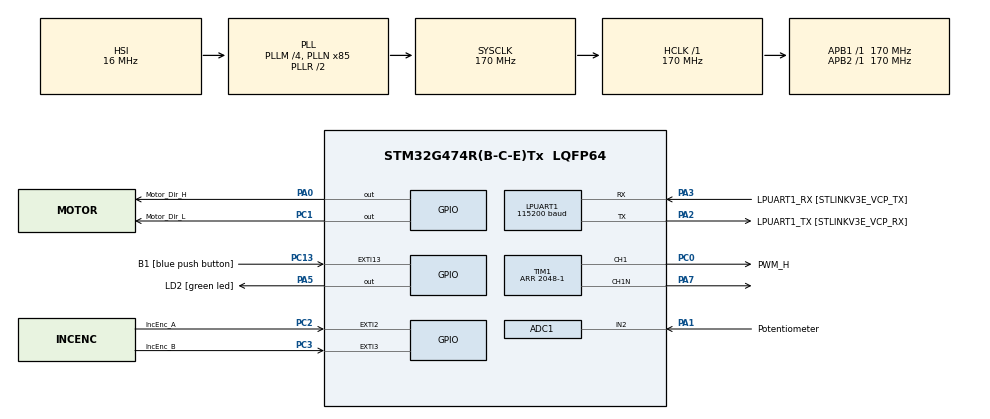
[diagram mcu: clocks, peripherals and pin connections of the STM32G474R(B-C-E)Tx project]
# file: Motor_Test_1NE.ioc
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ADC1.Channel-1\#ChannelRegularConversion=ADC_CHANNEL_2
ADC1.ContinuousConvMode=ENABLE
ADC1.NbrOfConversionFlag=1
ADC1.OffsetNumber-1\#ChannelRegularConversion=ADC_OFFSET_NONE
ADC1.Rank-1\#ChannelRegularConversion=1
ADC1.SamplingTime-1\#ChannelRegularConversion=ADC_SAMPLETIME_2CYCLES_5
ADC1.master=1
LPUART1.BaudRate=115200
LPUART1.WordLength=UART_WORDLENGTH_8B
Mcu.Family=STM32G4
Mcu.Name=STM32G474R(B-C-E)Tx
Mcu.Package=LQFP64
NVIC.ADC1_2_IRQn=true\:0\:0\:false\:false\:true\:true\:true\:true
NVIC.EXTI15_10_IRQn=true\:0\:0\:false\:false\:true\:true\:true\:true
NVIC.EXTI2_IRQn=true\:0\:0\:false\:false\:true\:true\:true\:true
NVIC.EXTI3_IRQn=true\:0\:0\:false\:false\:true\:true\:true\:true
NVIC.PriorityGroup=NVIC_PRIORITYGROUP_4
NVIC.TIM2_IRQn=true\:0\:0\:false\:false\:true\:true\:true\:true
NVIC.TIM3_IRQn=true\:0\:0\:false\:false\:true\:true\:true\:true
PA0.GPIO_Label=Motor_Dir_H
PA0.Signal=GPIO_Output
PA1.GPIO_Label=Potentiometer
PA1.Mode=IN2-Single-Ended
PA1.Signal=ADC1_IN2
PA13.GPIO_Label=T_SWDIO
PA13.Mode=Serial_Wire
PA13.Signal=SYS_JTMS-SWDIO
PA14.GPIO_Label=T_SWCLK
PA14.Mode=Serial_Wire
PA14.Signal=SYS_JTCK-SWCLK
PA2.GPIO_Label=LPUART1_TX [STLINKV3E_VCP_RX]
PA2.Mode=Asynchronous
PA2.Signal=LPUART1_TX
PA3.GPIO_Label=LPUART1_RX [STLINKV3E_VCP_TX]
PA3.Mode=Asynchronous
PA3.Signal=LPUART1_RX
PA5.GPIO_Label=LD2 [green led]
PA5.Signal=GPIO_Output
PA7.Mode=PWM Generation1 CH1 CH1N
PA7.Signal=TIM1_CH1N
PB3.GPIO_Label=T_SWO
PB3.Signal=SYS_JTDO-SWO
PC0.GPIO_Label=PWM_H
PC0.Signal=S_TIM1_CH1
PC1.GPIO_Label=Motor_Dir_L
PC1.Signal=GPIO_Output
PC13.GPIO_Label=B1 [blue push button]
PC13.Signal=GPXTI13
PC14-OSC32_IN.Mode=LSE-External-Oscillator
PC14-OSC32_IN.Signal=RCC_OSC32_IN
PC15-OSC32_OUT.Mode=LSE-External-Oscillator
PC15-OSC32_OUT.Signal=RCC_OSC32_OUT
PC2.GPIO_Label=IncEnc_A
PC2.GPIO_ModeDefaultEXTI=GPIO_MODE_IT_RISING_FALLING
PC2.Signal=GPXTI2
PC3.GPIO_Label=IncEnc_B
PC3.GPIO_ModeDefaultEXTI=GPIO_MODE_IT_RISING_FALLING
PC3.Signal=GPXTI3
PF0-OSC_IN.Mode=HSE-External-Oscillator
PF0-OSC_IN.Signal=RCC_OSC_IN
PF1-OSC_OUT.Mode=HSE-External-Oscillator
PF1-OSC_OUT.Signal=RCC_OSC_OUT
ProjectManager.HeapSize=0x200
ProjectManager.StackSize=0x400
ProjectManager.TargetToolchain=STM32CubeIDE
RCC.ADC12Freq_Value=170000000
RCC.ADC345Freq_Value=170000000
RCC.AHBFreq_Value=170000000
RCC.APB1Freq_Value=170000000
RCC.APB1TimFreq_Value=170000000
RCC.APB2Freq_Value=170000000
RCC.APB2TimFreq_Value=170000000
RCC.CortexFreq_Value=170000000
RCC.EXTERNAL_CLOCK_VALUE=12288000
RCC.HCLKFreq_Value=170000000
RCC.HSE_VALUE=24000000
RCC.HSI48_VALUE=48000000
RCC.HSI_VALUE=16000000
RCC.PLLM=RCC_PLLM_DIV4
RCC.PLLN=85
RCC.RTCClockSelection=RCC_RTCCLKSOURCE_LSE
RCC.SYSCLKFreq_VALUE=170000000
RCC.SYSCLKSource=RCC_SYSCLKSOURCE_PLLCLK
RCC.USBFreq_Value=170000000
RCC.VCOOutputFreq_Value=340000000
SH.S_TIM1_CH1.0=TIM1_CH1,PWM Generation1 CH1 CH1N
TIM1.AutoReloadPreload=TIM_AUTORELOAD_PRELOAD_ENABLE
TIM1.Channel-PWM\ Generation1\ CH1\ CH1N=TIM_CHANNEL_1
TIM1.PeriodNoDither=2048-1
TIM2.Dithering=Disable
TIM2.PeriodNoDither=1000-1
TIM2.Prescaler=170-1
TIM3.PeriodNoDither=1000-1
TIM3.Prescaler=170-1
VP_SYS_VS_DBSignals.Mode=DisableDeadBatterySignals
VP_TIM1_VS_ClockSourceINT.Mode=Internal
VP_TIM2_VS_ClockSourceINT.Mode=Internal
VP_TIM3_VS_ClockSourceINT.Mode=Internal
board=NUCLEO-G474RE

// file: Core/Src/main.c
/* USER CODE BEGIN Header */
/**
  ******************************************************************************
  * @file           : main.c
  * @brief          : Main program body
  ******************************************************************************
  * @attention
  *
  * Copyright (c) 2024 STMicroelectronics.
  * All rights reserved.
  *
  * This software is licensed under terms that can be found in the LICENSE file
  * in the root directory of this software component.
  * If no LICENSE file comes with this software, it is provided AS-IS.
  *
  ******************************************************************************
  */
/* USER CODE END Header */
#include "main.h"

/* USER CODE BEGIN Includes */
#include <string.h>
/* USER CODE END Includes */

/* USER CODE BEGIN PD */
#define M_PI		3.14159265358979323846
/* USER CODE END PD */

ADC_HandleTypeDef hadc1;

UART_HandleTypeDef hlpuart1;

TIM_HandleTypeDef htim1;
TIM_HandleTypeDef htim2;
TIM_HandleTypeDef htim3;

/* USER CODE BEGIN PV */

int InputVal = 0;
int m_duty = 0;
uint8_t flag = 1;
int adcVal = 0;

typedef enum _motorDir {
	CCW,
	CW
} motorDir;

typedef struct _motorCtrlObj {
	uint8_t motorCtrl;		// Button Update (Direction & Duty change)
	int incCnt;

	float incDeg;
	float incDeg_prev;
	float incVel;

	float reference;
	float actual;
	float Kp;
	float Ki;
	float Kd;
	float err;
	float err_diff_raw;
	float err_diff_filt;
	float err_sum;

	float control_input;

	motorDir motor_direction;

} motorCtrlObj;

motorCtrlObj motorObj;

/* USER CODE END PV */

void SystemClock_Config(void);
static void MX_GPIO_Init(void);
static void MX_LPUART1_UART_Init(void);
static void MX_ADC1_Init(void);
static void MX_TIM1_Init(void);
static void MX_TIM3_Init(void);
static void MX_TIM2_Init(void);
/* USER CODE BEGIN PFP */

void Run_PID_Control(motorCtrlObj* t_motor_obj, float t_ref, float t_actual, float t_period)
{
	float t_err = 0;

	t_motor_obj->reference = t_ref;
	t_motor_obj->actual = t_actual;

	t_err = t_ref - t_actual;

	t_motor_obj->err_sum += t_err * t_period;
	t_motor_obj->err_diff_raw = (t_err - t_motor_obj->err) / t_period;

	t_motor_obj->err_diff_filt = 0.97 * t_motor_obj->err_diff_filt + 0.03 * t_motor_obj->err_diff_raw;

	t_motor_obj->err = t_err;
	t_motor_obj->control_input = t_motor_obj->Kp * t_motor_obj->err 		\
								+ t_motor_obj->Ki * t_motor_obj->err_sum 	\
								+ t_motor_obj->Kd * t_motor_obj->err_diff_raw;
}
/* USER CODE END PFP */

int main(void)
{

  /* MCU Configuration--------------------------------------------------------*/

  /* Reset of all peripherals, Initializes the Flash interface and the Systick. */
  HAL_Init();

  /* Configure the system clock */
  SystemClock_Config();

  /* Initialize all configured peripherals */
  MX_GPIO_Init();
  MX_LPUART1_UART_Init();
  MX_ADC1_Init();
  MX_TIM1_Init();
  MX_TIM3_Init();
  MX_TIM2_Init();
  /* USER CODE BEGIN 2 */

  HAL_TIM_Base_Start_IT(&htim2);
  HAL_TIM_Base_Start_IT(&htim3);
  HAL_ADC_Start_IT(&hadc1);		// Continuous Conversion Mode

//  HAL_TIM_PWM_Start_IT(&htim1, TIM_CHANNEL_1);
//  HAL_TIMEx_PWMN_Start_IT(&htim1, TIM_CHANNEL_1);

  /* USER CODE END 2 */

  /* Infinite loop */
  /* USER CODE BEGIN WHILE */
  while (1)
  {
//	  HAL_ADC_Start(&hadc1);
//	  HAL_ADC_PollForConversion(&hadc1, 1);
//	  InputVal = HAL_ADC_GetValue(&hadc1);
//	  HAL_ADC_Stop(&hadc1);

//	  HAL_Delay(1);
    /* USER CODE END WHILE */

  }
}

void SystemClock_Config(void)
{
  RCC_OscInitTypeDef RCC_OscInitStruct = {0};
  RCC_ClkInitTypeDef RCC_ClkInitStruct = {0};

  /** Configure the main internal regulator output voltage
  */
  HAL_PWREx_ControlVoltageScaling(PWR_REGULATOR_VOLTAGE_SCALE1_BOOST);

  /** Initializes the RCC Oscillators according to the specified parameters
  * in the RCC_OscInitTypeDef structure.
  */
  RCC_OscInitStruct.OscillatorType = RCC_OSCILLATORTYPE_HSI;
  RCC_OscInitStruct.HSIState = RCC_HSI_ON;
  RCC_OscInitStruct.HSICalibrationValue = RCC_HSICALIBRATION_DEFAULT;
  RCC_OscInitStruct.PLL.PLLState = RCC_PLL_ON;
  RCC_OscInitStruct.PLL.PLLSource = RCC_PLLSOURCE_HSI;
  RCC_OscInitStruct.PLL.PLLM = RCC_PLLM_DIV4;
  RCC_OscInitStruct.PLL.PLLN = 85;
  RCC_OscInitStruct.PLL.PLLP = RCC_PLLP_DIV2;
  RCC_OscInitStruct.PLL.PLLQ = RCC_PLLQ_DIV2;
  RCC_OscInitStruct.PLL.PLLR = RCC_PLLR_DIV2;
  if (HAL_RCC_OscConfig(&RCC_OscInitStruct) != HAL_OK)
  {
    Error_Handler();
  }

  /** Initializes the CPU, AHB and APB buses clocks
  */
  RCC_ClkInitStruct.ClockType = RCC_CLOCKTYPE_HCLK|RCC_CLOCKTYPE_SYSCLK
                              |RCC_CLOCKTYPE_PCLK1|RCC_CLOCKTYPE_PCLK2;
  RCC_ClkInitStruct.SYSCLKSource = RCC_SYSCLKSOURCE_PLLCLK;
  RCC_ClkInitStruct.AHBCLKDivider = RCC_SYSCLK_DIV1;
  RCC_ClkInitStruct.APB1CLKDivider = RCC_HCLK_DIV1;
  RCC_ClkInitStruct.APB2CLKDivider = RCC_HCLK_DIV1;

  if (HAL_RCC_ClockConfig(&RCC_ClkInitStruct, FLASH_LATENCY_4) != HAL_OK)
  {
    Error_Handler();
  }
}

static void MX_ADC1_Init(void)
{

  ADC_MultiModeTypeDef multimode = {0};
  ADC_ChannelConfTypeDef sConfig = {0};

  /** Common config
  */
  hadc1.Instance = ADC1;
  hadc1.Init.ClockPrescaler = ADC_CLOCK_SYNC_PCLK_DIV4;
  hadc1.Init.Resolution = ADC_RESOLUTION_12B;
  hadc1.Init.DataAlign = ADC_DATAALIGN_RIGHT;
  hadc1.Init.GainCompensation = 0;
  hadc1.Init.ScanConvMode = ADC_SCAN_DISABLE;
  hadc1.Init.EOCSelection = ADC_EOC_SINGLE_CONV;
  hadc1.Init.LowPowerAutoWait = DISABLE;
  hadc1.Init.ContinuousConvMode = ENABLE;
  hadc1.Init.NbrOfConversion = 1;
  hadc1.Init.DiscontinuousConvMode = DISABLE;
  hadc1.Init.ExternalTrigConv = ADC_SOFTWARE_START;
  hadc1.Init.ExternalTrigConvEdge = ADC_EXTERNALTRIGCONVEDGE_NONE;
  hadc1.Init.DMAContinuousRequests = DISABLE;
  hadc1.Init.Overrun = ADC_OVR_DATA_PRESERVED;
  hadc1.Init.OversamplingMode = DISABLE;
  if (HAL_ADC_Init(&hadc1) != HAL_OK)
  {
    Error_Handler();
  }

  /** Configure the ADC multi-mode
  */
  multimode.Mode = ADC_MODE_INDEPENDENT;
  if (HAL_ADCEx_MultiModeConfigChannel(&hadc1, &multimode) != HAL_OK)
  {
    Error_Handler();
  }

  /** Configure Regular Channel
  */
  sConfig.Channel = ADC_CHANNEL_2;
  sConfig.Rank = ADC_REGULAR_RANK_1;
  sConfig.SamplingTime = ADC_SAMPLETIME_2CYCLES_5;
  sConfig.SingleDiff = ADC_SINGLE_ENDED;
  sConfig.OffsetNumber = ADC_OFFSET_NONE;
  sConfig.Offset = 0;
  if (HAL_ADC_ConfigChannel(&hadc1, &sConfig) != HAL_OK)
  {
    Error_Handler();
  }

}

static void MX_LPUART1_UART_Init(void)
{

  hlpuart1.Instance = LPUART1;
  hlpuart1.Init.BaudRate = 115200;
  hlpuart1.Init.WordLength = UART_WORDLENGTH_8B;
  hlpuart1.Init.StopBits = UART_STOPBITS_1;
  hlpuart1.Init.Parity = UART_PARITY_NONE;
  hlpuart1.Init.Mode = UART_MODE_TX_RX;
  hlpuart1.Init.HwFlowCtl = UART_HWCONTROL_NONE;
  hlpuart1.Init.OneBitSampling = UART_ONE_BIT_SAMPLE_DISABLE;
  hlpuart1.Init.ClockPrescaler = UART_PRESCALER_DIV1;
  hlpuart1.AdvancedInit.AdvFeatureInit = UART_ADVFEATURE_NO_INIT;
  if (HAL_UART_Init(&hlpuart1) != HAL_OK)
  {
    Error_Handler();
  }
  if (HAL_UARTEx_SetTxFifoThreshold(&hlpuart1, UART_TXFIFO_THRESHOLD_1_8) != HAL_OK)
  {
    Error_Handler();
  }
  if (HAL_UARTEx_SetRxFifoThreshold(&hlpuart1, UART_RXFIFO_THRESHOLD_1_8) != HAL_OK)
  {
    Error_Handler();
  }
  if (HAL_UARTEx_DisableFifoMode(&hlpuart1) != HAL_OK)
  {
    Error_Handler();
  }

}

static void MX_TIM1_Init(void)
{

  TIM_ClockConfigTypeDef sClockSourceConfig = {0};
  TIM_MasterConfigTypeDef sMasterConfig = {0};
  TIM_OC_InitTypeDef sConfigOC = {0};
  TIM_BreakDeadTimeConfigTypeDef sBreakDeadTimeConfig = {0};

  htim1.Instance = TIM1;
  htim1.Init.Prescaler = 0;
  htim1.Init.CounterMode = TIM_COUNTERMODE_UP;
  htim1.Init.Period = 2047;
  htim1.Init.ClockDivision = TIM_CLOCKDIVISION_DIV1;
  htim1.Init.RepetitionCounter = 0;
  htim1.Init.AutoReloadPreload = TIM_AUTORELOAD_PRELOAD_ENABLE;
  if (HAL_TIM_Base_Init(&htim1) != HAL_OK)
  {
    Error_Handler();
  }
  sClockSourceConfig.ClockSource = TIM_CLOCKSOURCE_INTERNAL;
  if (HAL_TIM_ConfigClockSource(&htim1, &sClockSourceConfig) != HAL_OK)
  {
    Error_Handler();
  }
  if (HAL_TIM_PWM_Init(&htim1) != HAL_OK)
  {
    Error_Handler();
  }
  sMasterConfig.MasterOutputTrigger = TIM_TRGO_RESET;
  sMasterConfig.MasterOutputTrigger2 = TIM_TRGO2_RESET;
  sMasterConfig.MasterSlaveMode = TIM_MASTERSLAVEMODE_DISABLE;
  if (HAL_TIMEx_MasterConfigSynchronization(&htim1, &sMasterConfig) != HAL_OK)
  {
    Error_Handler();
  }
  sConfigOC.OCMode = TIM_OCMODE_PWM1;
  sConfigOC.Pulse = 0;
  sConfigOC.OCPolarity = TIM_OCPOLARITY_HIGH;
  sConfigOC.OCNPolarity = TIM_OCNPOLARITY_HIGH;
  sConfigOC.OCFastMode = TIM_OCFAST_DISABLE;
  sConfigOC.OCIdleState = TIM_OCIDLESTATE_RESET;
  sConfigOC.OCNIdleState = TIM_OCNIDLESTATE_RESET;
  if (HAL_TIM_PWM_ConfigChannel(&htim1, &sConfigOC, TIM_CHANNEL_1) != HAL_OK)
  {
    Error_Handler();
  }
  sBreakDeadTimeConfig.OffStateRunMode = TIM_OSSR_DISABLE;
  sBreakDeadTimeConfig.OffStateIDLEMode = TIM_OSSI_DISABLE;
  sBreakDeadTimeConfig.LockLevel = TIM_LOCKLEVEL_OFF;
  sBreakDeadTimeConfig.DeadTime = 0;
  sBreakDeadTimeConfig.BreakState = TIM_BREAK_DISABLE;
  sBreakDeadTimeConfig.BreakPolarity = TIM_BREAKPOLARITY_HIGH;
  sBreakDeadTimeConfig.BreakFilter = 0;
  sBreakDeadTimeConfig.BreakAFMode = TIM_BREAK_AFMODE_INPUT;
  sBreakDeadTimeConfig.Break2State = TIM_BREAK2_DISABLE;
  sBreakDeadTimeConfig.Break2Polarity = TIM_BREAK2POLARITY_HIGH;
  sBreakDeadTimeConfig.Break2Filter = 0;
  sBreakDeadTimeConfig.Break2AFMode = TIM_BREAK_AFMODE_INPUT;
  sBreakDeadTimeConfig.AutomaticOutput = TIM_AUTOMATICOUTPUT_DISABLE;
  if (HAL_TIMEx_ConfigBreakDeadTime(&htim1, &sBreakDeadTimeConfig) != HAL_OK)
  {
    Error_Handler();
  }
  HAL_TIM_MspPostInit(&htim1);

}

static void MX_TIM2_Init(void)
{

  TIM_ClockConfigTypeDef sClockSourceConfig = {0};
  TIM_MasterConfigTypeDef sMasterConfig = {0};

  htim2.Instance = TIM2;
  htim2.Init.Prescaler = 170-1;
  htim2.Init.CounterMode = TIM_COUNTERMODE_UP;
  htim2.Init.Period = 999;
  htim2.Init.ClockDivision = TIM_CLOCKDIVISION_DIV1;
  htim2.Init.AutoReloadPreload = TIM_AUTORELOAD_PRELOAD_DISABLE;
  if (HAL_TIM_Base_Init(&htim2) != HAL_OK)
  {
    Error_Handler();
  }
  sClockSourceConfig.ClockSource = TIM_CLOCKSOURCE_INTERNAL;
  if (HAL_TIM_ConfigClockSource(&htim2, &sClockSourceConfig) != HAL_OK)
  {
    Error_Handler();
  }
  sMasterConfig.MasterOutputTrigger = TIM_TRGO_RESET;
  sMasterConfig.MasterSlaveMode = TIM_MASTERSLAVEMODE_DISABLE;
  if (HAL_TIMEx_MasterConfigSynchronization(&htim2, &sMasterConfig) != HAL_OK)
  {
    Error_Handler();
  }

}

static void MX_TIM3_Init(void)
{

  TIM_ClockConfigTypeDef sClockSourceConfig = {0};
  TIM_MasterConfigTypeDef sMasterConfig = {0};

  htim3.Instance = TIM3;
  htim3.Init.Prescaler = 170-1;
  htim3.Init.CounterMode = TIM_COUNTERMODE_UP;
  htim3.Init.Period = 999;
  htim3.Init.ClockDivision = TIM_CLOCKDIVISION_DIV1;
  htim3.Init.AutoReloadPreload = TIM_AUTORELOAD_PRELOAD_DISABLE;
  if (HAL_TIM_Base_Init(&htim3) != HAL_OK)
  {
    Error_Handler();
  }
  sClockSourceConfig.ClockSource = TIM_CLOCKSOURCE_INTERNAL;
  if (HAL_TIM_ConfigClockSource(&htim3, &sClockSourceConfig) != HAL_OK)
  {
    Error_Handler();
  }
  sMasterConfig.MasterOutputTrigger = TIM_TRGO_RESET;
  sMasterConfig.MasterSlaveMode = TIM_MASTERSLAVEMODE_DISABLE;
  if (HAL_TIMEx_MasterConfigSynchronization(&htim3, &sMasterConfig) != HAL_OK)
  {
    Error_Handler();
  }

}

static void MX_GPIO_Init(void)
{
  GPIO_InitTypeDef GPIO_InitStruct = {0};

  /* GPIO Ports Clock Enable */
  __HAL_RCC_GPIOC_CLK_ENABLE();
  __HAL_RCC_GPIOF_CLK_ENABLE();
  __HAL_RCC_GPIOA_CLK_ENABLE();
  __HAL_RCC_GPIOB_CLK_ENABLE();

  /*Configure GPIO pin Output Level */
  HAL_GPIO_WritePin(Motor_Dir_L_GPIO_Port, Motor_Dir_L_Pin, GPIO_PIN_RESET);

  /*Configure GPIO pin Output Level */
  HAL_GPIO_WritePin(GPIOA, Motor_Dir_H_Pin|LD2_Pin, GPIO_PIN_RESET);

  /*Configure GPIO pin : B1_Pin */
  GPIO_InitStruct.Pin = B1_Pin;
  GPIO_InitStruct.Mode = GPIO_MODE_IT_RISING;
  GPIO_InitStruct.Pull = GPIO_NOPULL;
  HAL_GPIO_Init(B1_GPIO_Port, &GPIO_InitStruct);

  /*Configure GPIO pin : Motor_Dir_L_Pin */
  GPIO_InitStruct.Pin = Motor_Dir_L_Pin;
  GPIO_InitStruct.Mode = GPIO_MODE_OUTPUT_PP;
  GPIO_InitStruct.Pull = GPIO_NOPULL;
  GPIO_InitStruct.Speed = GPIO_SPEED_FREQ_LOW;
  HAL_GPIO_Init(Motor_Dir_L_GPIO_Port, &GPIO_InitStruct);

  /*Configure GPIO pins : IncEnc_A_Pin IncEnc_B_Pin */
  GPIO_InitStruct.Pin = IncEnc_A_Pin|IncEnc_B_Pin;
  GPIO_InitStruct.Mode = GPIO_MODE_IT_RISING_FALLING;
  GPIO_InitStruct.Pull = GPIO_NOPULL;
  HAL_GPIO_Init(GPIOC, &GPIO_InitStruct);

  /*Configure GPIO pins : Motor_Dir_H_Pin LD2_Pin */
  GPIO_InitStruct.Pin = Motor_Dir_H_Pin|LD2_Pin;
  GPIO_InitStruct.Mode = GPIO_MODE_OUTPUT_PP;
  GPIO_InitStruct.Pull = GPIO_NOPULL;
  GPIO_InitStruct.Speed = GPIO_SPEED_FREQ_LOW;
  HAL_GPIO_Init(GPIOA, &GPIO_InitStruct);

  /* EXTI interrupt init*/
  HAL_NVIC_SetPriority(EXTI2_IRQn, 0, 0);
  HAL_NVIC_EnableIRQ(EXTI2_IRQn);

  HAL_NVIC_SetPriority(EXTI3_IRQn, 0, 0);
  HAL_NVIC_EnableIRQ(EXTI3_IRQn);

  HAL_NVIC_SetPriority(EXTI15_10_IRQn, 0, 0);
  HAL_NVIC_EnableIRQ(EXTI15_10_IRQn);

}

/* USER CODE BEGIN 4 */
void HAL_ADC_ConvCpltCallback(ADC_HandleTypeDef *hadc)
{
//	if (hadc == &hadc1){
//		adcVal = HAL_ADC_GetValue(&hadc1);
//
//		if (motorObj.motorCtrl == 0){
//			m_duty = adcVal*2048/4096;
//
//			if (motorObj.motor_direction == CCW) {
//				HAL_GPIO_WritePin(GPIOA, GPIO_PIN_0, GPIO_PIN_SET);
//				HAL_GPIO_WritePin(GPIOC, GPIO_PIN_1, GPIO_PIN_RESET);
//			}
//			else if (motorObj.motor_direction == CW) {
//				HAL_GPIO_WritePin(GPIOA, GPIO_PIN_0, GPIO_PIN_RESET);
//				HAL_GPIO_WritePin(GPIOC, GPIO_PIN_1, GPIO_PIN_SET);
//			}
//
//			htim1.Instance->CCR1 = m_duty;
//			HAL_TIM_PWM_Start(&htim1, TIM_CHANNEL_1);
//
//			motorObj.motorCtrl = 1;
//		}
//	}
}

void HAL_GPIO_EXTI_Callback(uint16_t GPIO_PIN)
{
	if (GPIO_PIN == GPIO_PIN_13){
		// LD2_LED //
		HAL_GPIO_TogglePin(GPIOA, GPIO_PIN_5);

		// PWM //
//		if (m_duty >= 2000){
//			flag = 0;
//		}
//		else if (m_duty <= 0){
//			flag = 1;
//		}
//
//		if (flag){
//			m_duty += 500;
//		}
//		else{
//			m_duty -=500;
//		}
//		htim1.Instance->CCR1 = m_duty;

		// UART //
		char uartData[20] = {0};
		strcpy(uartData, "Hello World!\n");
		HAL_UART_Transmit(&hlpuart1, (uint8_t *)uartData, strlen(uartData), 100);

		// Motor Direction Change //
//		if (motorObj.motor_direction == CCW) {
//			motorObj.motor_direction = CW;
//		}
//		else if(motorObj.motor_direction == CW) {
//			motorObj.motor_direction = CCW;
//		}
//		motorObj.motorCtrl = 0;

		/* For Motor Control */
		if (motorObj.motorCtrl == 0){
			motorObj.motorCtrl = 1;
		}
		else if (motorObj.motorCtrl == 1){
			motorObj.motorCtrl = 0;
		}
	}

	// Motor Encoder //
	else if (GPIO_PIN == GPIO_PIN_2) {	// phase A
		if (HAL_GPIO_ReadPin(GPIOC, GPIO_PIN_2) != HAL_GPIO_ReadPin(GPIOC, GPIO_PIN_3)){
			motorObj.incCnt++;
		}
		else {
			motorObj.incCnt--;
		}
	}

	else if (GPIO_PIN == GPIO_PIN_3) {	// phase B
		if (HAL_GPIO_ReadPin(GPIOC, GPIO_PIN_2) == HAL_GPIO_ReadPin(GPIOC, GPIO_PIN_3)){
			motorObj.incCnt++;
		}
		else {
			motorObj.incCnt--;
		}
	}
}

void HAL_TIM_PeriodElapsedCallback(TIM_HandleTypeDef *htim)
{
	/* Get Encoder Data */
	if (htim == &htim3){
		motorObj.incDeg = (float)motorObj.incCnt / 1376.0 * 2 * M_PI;
		motorObj.incVel = (motorObj.incDeg - motorObj.incDeg_prev)/0.001;
		motorObj.incDeg_prev = motorObj.incDeg;

		/* For Test */
//		HAL_GPIO_WritePin(GPIOA, GPIO_PIN_0, GPIO_PIN_SET);
//		HAL_GPIO_WritePin(GPIOC, GPIO_PIN_1, GPIO_PIN_RESET);
//		htim1.Instance->CCR1 = 1200;
//		HAL_TIM_PWM_Start(&htim1, TIM_CHANNEL_1);
	}

	/* Control the Motor */
	if (htim == &htim2){
		if (motorObj.motorCtrl == 1) {

			/* Position Control */
////			motorObj.Kp = 500;
////			motorObj.Ki = 0;
////			motorObj.Kd = 10;
////
////			float deg_ref = 270 * M_PI / 360.0;
////
////			Run_PID_Control(&motorObj, deg_ref, motorObj.incDeg, 0.001);
////
////			if (motorObj.control_input >= 0){
////				motorObj.motor_direction = CCW;
////				HAL_GPIO_WritePin(GPIOA, GPIO_PIN_0, GPIO_PIN_SET);
////				HAL_GPIO_WritePin(GPIOC, GPIO_PIN_1, GPIO_PIN_RESET);
////			}
////			if (motorObj.control_input < 0){
////				motorObj.motor_direction = CW;
////				HAL_GPIO_WritePin(GPIOA, GPIO_PIN_0, GPIO_PIN_RESET);
////				HAL_GPIO_WritePin(GPIOC, GPIO_PIN_1, GPIO_PIN_SET);
////			}
			///////////////////////////////////////////////////////////////////////////

			/* Velocity Control */
			motorObj.Kp = 80;
			motorObj.Ki = 0;
			motorObj.Kd = 0;

			float vel_ref = 350;

			Run_PID_Control(&motorObj, vel_ref, motorObj.incVel, 0.001);

			if (motorObj.control_input >= 0){
				motorObj.motor_direction = CCW;
				HAL_GPIO_WritePin(GPIOA, GPIO_PIN_0, GPIO_PIN_SET);
				HAL_GPIO_WritePin(GPIOC, GPIO_PIN_1, GPIO_PIN_RESET);
			}
			if (motorObj.control_input < 0){
				motorObj.motor_direction = CW;
				HAL_GPIO_WritePin(GPIOA, GPIO_PIN_0, GPIO_PIN_RESET);
				HAL_GPIO_WritePin(GPIOC, GPIO_PIN_1, GPIO_PIN_SET);
			}
			////////////////////////////////////////////////////////////////////////////

			/* Saturation */
			if (motorObj.control_input < 0){
				motorObj.control_input = (-1) * motorObj.control_input;
			}
			if (motorObj.control_input > 2000){
				motorObj.control_input = 2000;
			}
			/////////////////////////////////////////////////////////////////

			htim1.Instance->CCR1 = motorObj.control_input;
			HAL_TIM_PWM_Start(&htim1, TIM_CHANNEL_1);
		}

		else if (motorObj.motorCtrl == 0) {
			memset(&motorObj, 0, sizeof(motorObj));
			htim1.Instance->CCR1 = 0;
			HAL_TIM_PWM_Stop(&htim1, TIM_CHANNEL_1);
		}
	}
}

/* USER CODE END 4 */

void Error_Handler(void)
{
  __disable_irq();
  while (1)
  {
  }
}
